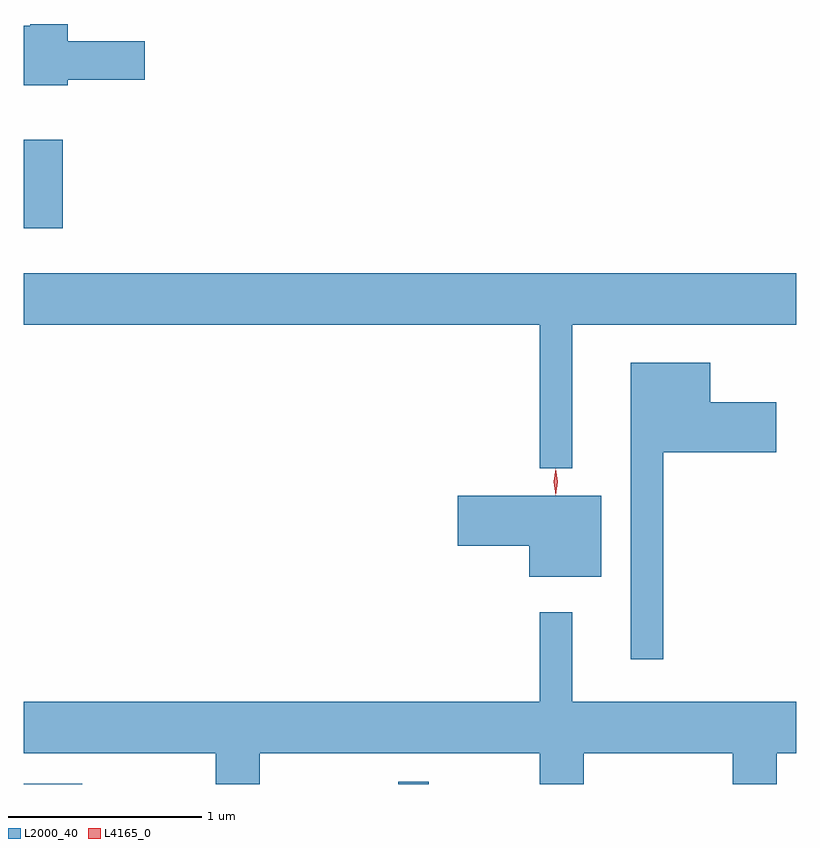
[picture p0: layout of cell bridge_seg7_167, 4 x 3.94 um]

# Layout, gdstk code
import gdstk
lib = gdstk.Library(unit=1e-6, precision=1e-09)
def R(c, l, rs):  # rectangles x0, y0, x1, y1
    for r in rs: c.add(gdstk.rectangle(r[:2], r[2:], *l))
def P(c, l, *ps):  # polygons
    for p in ps: c.add(gdstk.Polygon(p, *l))
L2000_40 = (2000, 40)
L4165_0 = (4165, 0)

bridge_seg7_167 = lib.new_cell('bridge_seg7_167')
R(bridge_seg7_167, L2000_40, [(1628.298,1703.057,1628.599,1703.059), (1630.236,1703.057,1630.394,1703.068), (1628.298,1705.936,1628.499,1706.394)])
P(bridge_seg7_167, L2000_40, [(1628.524,1706.706),(1628.924,1706.706),(1628.924,1706.904),(1628.524,1706.904),(1628.524,1706.994),(1628.33,1706.994),(1628.33,1706.984),(1628.298,1706.984),(1628.298,1706.676),(1628.524,1706.676)],
  [(1631.139,1705.436),(1632.298,1705.436),(1632.298,1705.704),(1628.298,1705.704),(1628.298,1705.436),(1630.971,1705.436),(1630.971,1704.693),(1631.139,1704.693)],
  [(1631.609,1704.776),(1632.194,1704.776),(1632.194,1705.034),(1631.854,1705.034),(1631.854,1705.239),(1631.441,1705.239),(1631.441,1703.703),(1631.609,1703.703)],
  [(1631.289,1704.549),(1630.546,1704.549),(1630.546,1704.291),(1630.916,1704.291),(1630.916,1704.131),(1631.289,1704.131)],
  [(1630.971,1703.948),(1630.971,1703.484),(1628.298,1703.484),(1628.298,1703.216),(1629.291,1703.216),(1629.291,1703.057),(1629.519,1703.057),(1629.519,1703.216),(1630.971,1703.216),(1630.971,1703.057),(1631.199,1703.057),(1631.199,1703.216),(1631.971,1703.216),(1631.971,1703.057),(1632.199,1703.057),(1632.199,1703.216),(1632.298,1703.216),(1632.298,1703.484),(1631.139,1703.484),(1631.139,1703.948)])
P(bridge_seg7_167, L4165_0, [(1631.052,1704.554),(1631.043,1704.622),(1631.052,1704.69),(1631.053,1704.69),(1631.053,1704.69),(1631.063,1704.622),(1631.053,1704.554),(1631.053,1704.554)],
  [(1631.052,1704.56),(1631.043,1704.624),(1631.052,1704.686),(1631.053,1704.687),(1631.053,1704.686),(1631.063,1704.624),(1631.053,1704.56),(1631.053,1704.56)])

lib.write_gds('bridge_seg7_167.gds')
